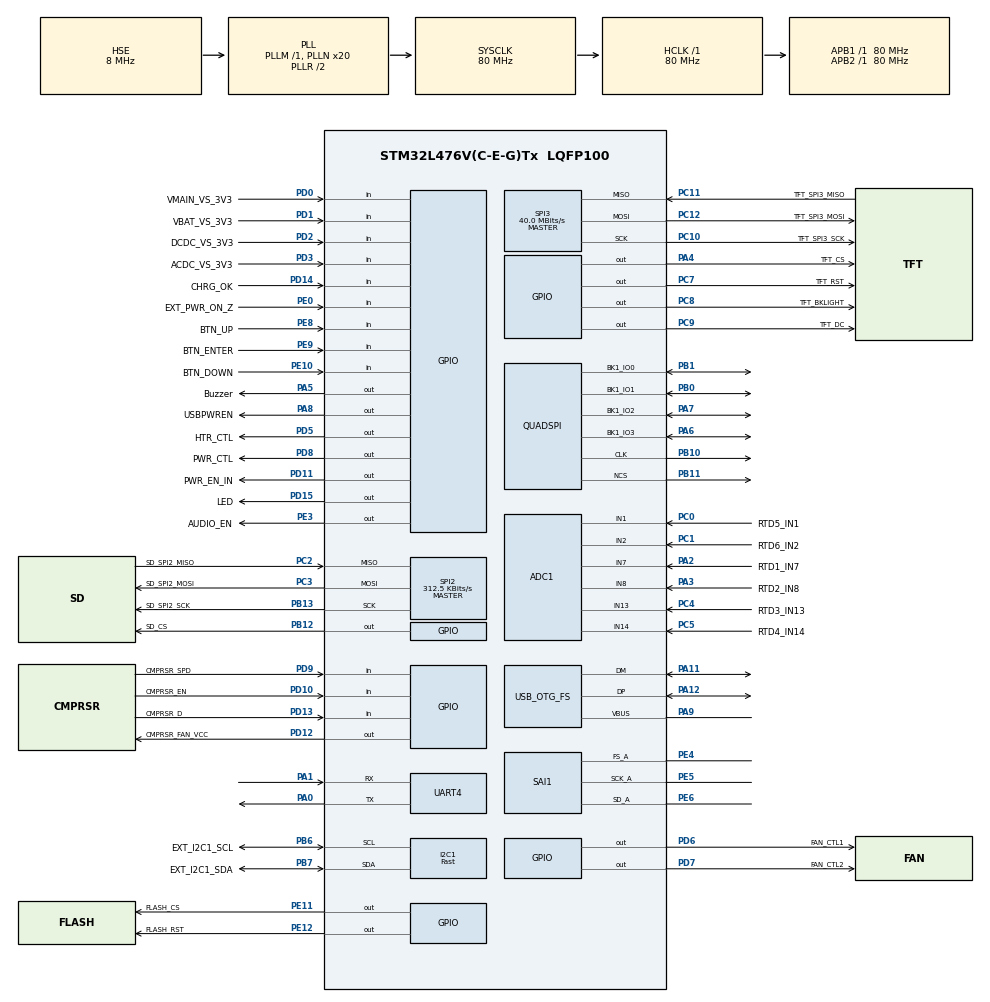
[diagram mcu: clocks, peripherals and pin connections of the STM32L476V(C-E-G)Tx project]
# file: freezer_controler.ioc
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ADC1.Channel-0\#ChannelRegularConversion=ADC_CHANNEL_1
ADC1.Channel-1\#ChannelRegularConversion=ADC_CHANNEL_2
ADC1.Channel-2\#ChannelRegularConversion=ADC_CHANNEL_7
ADC1.Channel-3\#ChannelRegularConversion=ADC_CHANNEL_8
ADC1.Channel-4\#ChannelRegularConversion=ADC_CHANNEL_13
ADC1.Channel-5\#ChannelRegularConversion=ADC_CHANNEL_14
ADC1.ClockPrescaler=ADC_CLOCK_ASYNC_DIV4
ADC1.ContinuousConvMode=ENABLE
ADC1.DMAContinuousRequests=ENABLE
ADC1.NbrOfConversion=6
ADC1.NbrOfConversionFlag=1
ADC1.OffsetNumber-0\#ChannelRegularConversion=ADC_OFFSET_NONE
ADC1.OffsetNumber-1\#ChannelRegularConversion=ADC_OFFSET_NONE
ADC1.OffsetNumber-2\#ChannelRegularConversion=ADC_OFFSET_NONE
ADC1.OffsetNumber-3\#ChannelRegularConversion=ADC_OFFSET_NONE
ADC1.OffsetNumber-4\#ChannelRegularConversion=ADC_OFFSET_NONE
ADC1.OffsetNumber-5\#ChannelRegularConversion=ADC_OFFSET_NONE
ADC1.Rank-0\#ChannelRegularConversion=1
ADC1.Rank-1\#ChannelRegularConversion=2
ADC1.Rank-2\#ChannelRegularConversion=3
ADC1.Rank-3\#ChannelRegularConversion=4
ADC1.Rank-4\#ChannelRegularConversion=5
ADC1.Rank-5\#ChannelRegularConversion=6
ADC1.SamplingTime-0\#ChannelRegularConversion=ADC_SAMPLETIME_640CYCLES_5
ADC1.SamplingTime-1\#ChannelRegularConversion=ADC_SAMPLETIME_640CYCLES_5
ADC1.SamplingTime-2\#ChannelRegularConversion=ADC_SAMPLETIME_640CYCLES_5
ADC1.SamplingTime-3\#ChannelRegularConversion=ADC_SAMPLETIME_640CYCLES_5
ADC1.SamplingTime-4\#ChannelRegularConversion=ADC_SAMPLETIME_640CYCLES_5
ADC1.SamplingTime-5\#ChannelRegularConversion=ADC_SAMPLETIME_640CYCLES_5
ADC1.master=1
CRC.DefaultPolynomialUse=DEFAULT_POLYNOMIAL_DISABLE
Dma.ADC1.1.Direction=DMA_PERIPH_TO_MEMORY
Dma.ADC1.1.Instance=DMA1_Channel1
Dma.ADC1.1.MemDataAlignment=DMA_MDATAALIGN_HALFWORD
Dma.ADC1.1.MemInc=DMA_MINC_ENABLE
Dma.ADC1.1.Mode=DMA_CIRCULAR
Dma.ADC1.1.PeriphDataAlignment=DMA_PDATAALIGN_HALFWORD
Dma.ADC1.1.PeriphInc=DMA_PINC_DISABLE
Dma.ADC1.1.Priority=DMA_PRIORITY_LOW
Dma.Request0=SPI3_TX
Dma.Request1=ADC1
Dma.SPI3_TX.0.Direction=DMA_MEMORY_TO_PERIPH
Dma.SPI3_TX.0.Instance=DMA2_Channel2
Dma.SPI3_TX.0.MemDataAlignment=DMA_MDATAALIGN_BYTE
Dma.SPI3_TX.0.MemInc=DMA_MINC_ENABLE
Dma.SPI3_TX.0.Mode=DMA_NORMAL
Dma.SPI3_TX.0.PeriphDataAlignment=DMA_PDATAALIGN_BYTE
Dma.SPI3_TX.0.PeriphInc=DMA_PINC_DISABLE
Dma.SPI3_TX.0.Priority=DMA_PRIORITY_LOW
FATFS._USE_LFN=3
FATFS._USE_MUTEX=0
FREERTOS.HEAP_NUMBER=2
FREERTOS.Tasks01=usbHostTask,0,8192,UsbRunTask,Default,NULL,Dynamic,NULL,NULL
FREERTOS.configTOTAL_HEAP_SIZE=40960
FREERTOS.configUSE_NEWLIB_REENTRANT=1
FREERTOS.configUSE_PREEMPTION=0
I2C1.CustomTiming=Disabled
I2C1.I2C_Speed_Mode=I2C_Fast
I2C1.Timing=0x00702991
Mcu.Family=STM32L4
Mcu.Name=STM32L476V(C-E-G)Tx
Mcu.Package=LQFP100
NVIC.DMA1_Channel1_IRQn=true\:5\:0\:false\:false\:true\:true\:false\:true\:true
NVIC.DMA2_Channel2_IRQn=true\:5\:0\:false\:false\:true\:true\:false\:true\:true
NVIC.I2C1_ER_IRQn=true\:0\:0\:true\:false\:true\:false\:true\:true\:true
NVIC.I2C1_EV_IRQn=true\:0\:0\:true\:false\:true\:false\:true\:true\:true
NVIC.OTG_FS_IRQn=true\:5\:0\:false\:false\:true\:true\:false\:true\:true
NVIC.PriorityGroup=NVIC_PRIORITYGROUP_4
PA0.Mode=Asynchronous
PA0.Signal=UART4_TX
PA1.Mode=Asynchronous
PA1.Signal=UART4_RX
PA11.Mode=Host_Only
PA11.Signal=USB_OTG_FS_DM
PA12.Mode=Host_Only
PA12.Signal=USB_OTG_FS_DP
PA2.GPIO_Label=RTD1_IN7
PA2.Signal=ADCx_IN7
PA3.GPIO_Label=RTD2_IN8
PA3.Signal=ADCx_IN8
PA4.GPIO_Label=TFT_CS
PA4.PinState=GPIO_PIN_SET
PA4.Signal=GPIO_Output
PA5.GPIO_Label=Buzzer
PA5.Signal=GPIO_Output
PA6.Mode=Single Bank
PA6.Signal=QUADSPI_BK1_IO3
PA7.Mode=Single Bank
PA7.Signal=QUADSPI_BK1_IO2
PA8.GPIO_Label=USBPWREN
PA8.Signal=GPIO_Output
PA9.Mode=Activate_VBUS
PA9.Signal=USB_OTG_FS_VBUS
PB0.Mode=Single Bank
PB0.Signal=QUADSPI_BK1_IO1
PB1.Mode=Single Bank
PB1.Signal=QUADSPI_BK1_IO0
PB10.Mode=Single Bank
PB10.Signal=QUADSPI_CLK
PB11.Mode=Single Bank
PB11.Signal=QUADSPI_NCS
PB12.GPIO_Label=SD_CS
PB12.Signal=GPIO_Output
PB13.GPIO_Label=SD_SPI2_SCK
PB13.Mode=Full_Duplex_Master
PB13.Signal=SPI2_SCK
PB6.GPIO_Label=EXT_I2C1_SCL
PB6.GPIO_Pu=GPIO_PULLUP
PB6.Mode=I2C
PB6.Signal=I2C1_SCL
PB7.GPIO_Label=EXT_I2C1_SDA
PB7.GPIO_Pu=GPIO_PULLUP
PB7.Mode=I2C
PB7.Signal=I2C1_SDA
PC0.GPIO_Label=RTD5_IN1
PC0.Signal=ADCx_IN1
PC1.GPIO_Label=RTD6_IN2
PC1.Signal=ADCx_IN2
PC10.GPIO_Label=TFT_SPI3_SCK
PC10.Mode=Full_Duplex_Master
PC10.Signal=SPI3_SCK
PC11.GPIO_Label=TFT_SPI3_MISO
PC11.Mode=Full_Duplex_Master
PC11.Signal=SPI3_MISO
PC12.GPIO_Label=TFT_SPI3_MOSI
PC12.Mode=Full_Duplex_Master
PC12.Signal=SPI3_MOSI
PC14-OSC32_IN\ (PC14).Mode=LSE-External-Oscillator
PC14-OSC32_IN\ (PC14).Signal=RCC_OSC32_IN
PC15-OSC32_OUT\ (PC15).Mode=LSE-External-Oscillator
PC15-OSC32_OUT\ (PC15).Signal=RCC_OSC32_OUT
PC2.GPIO_Label=SD_SPI2_MISO
PC2.Mode=Full_Duplex_Master
PC2.Signal=SPI2_MISO
PC3.GPIO_Label=SD_SPI2_MOSI
PC3.Mode=Full_Duplex_Master
PC3.Signal=SPI2_MOSI
PC4.GPIO_Label=RTD3_IN13
PC4.Signal=ADCx_IN13
PC5.GPIO_Label=RTD4_IN14
PC5.Signal=ADCx_IN14
PC7.GPIO_Label=TFT_RST
PC7.Signal=GPIO_Output
PC8.GPIO_Label=TFT_BKLIGHT
PC8.Signal=GPIO_Output
PC9.GPIO_Label=TFT_DC
PC9.Signal=GPIO_Output
PD0.GPIO_Label=VMAIN_VS_3V3
PD0.Signal=GPIO_Input
PD1.GPIO_Label=VBAT_VS_3V3
PD1.Signal=GPIO_Input
PD10.GPIO_Label=CMPRSR_EN
PD10.Signal=GPIO_Input
PD11.GPIO_Label=PWR_EN_IN
PD11.Signal=GPIO_Output
PD12.GPIO_Label=CMPRSR_FAN_VCC
PD12.Signal=GPIO_Output
PD13.GPIO_Label=CMPRSR_D
PD13.Signal=GPIO_Input
PD14.GPIO_Label=CHRG_OK
PD14.GPIO_PuPd=GPIO_PULLUP
PD14.Signal=GPIO_Input
PD15.GPIO_Label=LED
PD15.GPIO_PuPd=GPIO_PULLUP
PD15.Signal=GPIO_Output
PD2.GPIO_Label=DCDC_VS_3V3
PD2.Signal=GPIO_Input
PD3.GPIO_Label=ACDC_VS_3V3
PD3.Signal=GPIO_Input
PD5.GPIO_Label=HTR_CTL
PD5.GPIO_PuPd=GPIO_PULLDOWN
PD5.Signal=GPIO_Output
PD6.GPIO_Label=FAN_CTL1
PD6.GPIO_PuPd=GPIO_PULLDOWN
PD6.Signal=GPIO_Output
PD7.GPIO_Label=FAN_CTL2
PD7.GPIO_PuPd=GPIO_PULLDOWN
PD7.Signal=GPIO_Output
PD8.GPIO_Label=PWR_CTL
PD8.Signal=GPIO_Output
PD9.GPIO_Label=CMPRSR_SPD
PD9.Signal=GPIO_Input
PE0.GPIO_Label=EXT_PWR_ON_Z
PE0.Signal=GPIO_Input
PE10.GPIO_Label=BTN_DOWN
PE10.GPIO_PuPd=GPIO_PULLUP
PE10.Signal=GPIO_Input
PE11.GPIO_Label=FLASH_CS
PE11.Signal=GPIO_Output
PE12.GPIO_Label=FLASH_RST
PE12.Signal=GPIO_Output
PE3.GPIO_Label=AUDIO_EN
PE3.Signal=GPIO_Output
PE4.Mode=SAI_A_Master
PE4.Signal=SAI1_FS_A
PE5.Mode=SAI_A_Master
PE5.Signal=SAI1_SCK_A
PE6.Mode=SAI_A_Master
PE6.Signal=SAI1_SD_A
PE8.GPIO_Label=BTN_UP
PE8.GPIO_PuPd=GPIO_PULLUP
PE8.Signal=GPIO_Input
PE9.GPIO_Label=BTN_ENTER
PE9.GPIO_PuPd=GPIO_PULLUP
PE9.Signal=GPIO_Input
PH0-OSC_IN\ (PH0).Mode=HSE-External-Oscillator
PH0-OSC_IN\ (PH0).Signal=RCC_OSC_IN
PH1-OSC_OUT\ (PH1).Mode=HSE-External-Oscillator
PH1-OSC_OUT\ (PH1).Signal=RCC_OSC_OUT
ProjectManager.HeapSize=0x200
ProjectManager.StackSize=0x400
ProjectManager.TargetToolchain=STM32CubeIDE
RCC.ADCCLockSelection=RCC_ADCCLKSOURCE_PLLSAI2
RCC.ADCFreq_Value=32000000
RCC.AHBFreq_Value=80000000
RCC.APB1Freq_Value=80000000
RCC.APB1TimFreq_Value=80000000
RCC.APB2Freq_Value=80000000
RCC.APB2TimFreq_Value=80000000
RCC.CortexFreq_Value=80000000
RCC.HCLKFreq_Value=80000000
RCC.HSE_VALUE=8000000
RCC.HSI_VALUE=16000000
RCC.MSI_VALUE=4000000
RCC.PLLN=20
RCC.PLLSAI1N=12
RCC.PLLSourceVirtual=RCC_PLLSOURCE_HSE
RCC.SYSCLKFreq_VALUE=80000000
RCC.SYSCLKSource=RCC_SYSCLKSOURCE_PLLCLK
RCC.USBFreq_Value=48000000
RCC.VCOOutputFreq_Value=160000000
SAI1.ErrorAudioFreq-SAI_A_Master=-72.09 %
SAI1.Instance-SAI_A_Master=SAI$Index_Block_A
SAI1.MClockEnable-SAI_A_Master=SAI_MASTERCLOCK_DISABLE
SAI1.RealAudioFreq-SAI_A_Master=53.571 KHz
SAI1.VirtualMode-SAI_A_Master=VM_MASTER
SH.ADCx_IN1.0=ADC1_IN1,IN1-Single-Ended
SH.ADCx_IN13.0=ADC1_IN13,IN13-Single-Ended
SH.ADCx_IN14.0=ADC1_IN14,IN14-Single-Ended
SH.ADCx_IN2.0=ADC1_IN2,IN2-Single-Ended
SH.ADCx_IN7.0=ADC1_IN7,IN7-Single-Ended
SH.ADCx_IN8.0=ADC1_IN8,IN8-Single-Ended
SPI2.BaudRatePrescaler=SPI_BAUDRATEPRESCALER_256
SPI2.CalculateBaudRate=312.5 KBits/s
SPI2.DataSize=SPI_DATASIZE_8BIT
SPI2.Direction=SPI_DIRECTION_2LINES
SPI2.Mode=SPI_MODE_MASTER
SPI2.VirtualType=VM_MASTER
SPI3.BaudRatePrescaler=SPI_BAUDRATEPRESCALER_2
SPI3.CalculateBaudRate=40.0 MBits/s
SPI3.DataSize=SPI_DATASIZE_8BIT
SPI3.Direction=SPI_DIRECTION_2LINES
SPI3.Mode=SPI_MODE_MASTER
SPI3.VirtualType=VM_MASTER
USB_HOST.BSP.number=1
USB_HOST.USBH_DEBUG_LEVEL=1
USB_HOST.USBH_HandleTypeDef=hUsbHostFS
USB_HOST.USBH_PROCESS_STACK_SIZE=512
USB_HOST.VirtualModeFS=Msc
USB_HOST0.BSP.STBoard=false
USB_HOST0.BSP.api=Unknown
USB_HOST0.BSP.instance=PA8
USB_HOST0.BSP.ip=GPIO
USB_HOST0.BSP.mode=Output
USB_HOST0.BSP.name=Drive_VBUS_FS
USB_HOST0.BSP.solution=PA8
USB_OTG_FS.VirtualMode=Host_Only
USB_OTG_FS.phy_itface=HCD_PHY_EMBEDDED
VP_CRC_VS_CRC.Mode=CRC_Activate
VP_FATFS_VS_Generic.Mode=User_defined
VP_FATFS_VS_USB.Mode=USB
VP_FREERTOS_VS_CMSIS_V1.Mode=CMSIS_V1
VP_USB_HOST_VS_USB_HOST_MSC_FS.Mode=MSC_FS
board=custom

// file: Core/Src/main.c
/* USER CODE BEGIN Header */
/**
  ******************************************************************************
  * @file           : main.c
  * @brief          : Main program body
  ******************************************************************************
  * @attention
  *
  * Copyright (c) 2023 STMicroelectronics.
  * All rights reserved.
  *
  * This software is licensed under terms that can be found in the LICENSE file
  * in the root directory of this software component.
  * If no LICENSE file comes with this software, it is provided AS-IS.
  *
  ******************************************************************************
  */
/* USER CODE END Header */
#include "main.h"
#include "cmsis_os.h"
#include "adc.h"
#include "crc.h"
#include "dma.h"
#include "fatfs.h"
#include "i2c.h"
#include "spi.h"
#include "usart.h"
#include "usb_host.h"
#include "gpio.h"

/* USER CODE BEGIN Includes */
#include "printf.h"
#include "lcd_ui.h"
#include "event.h"
#include "DS1307.h"
#include "led.h"
#include "buzzer.h"
#include "RTD.h"
#include "board.h"
#include "lcd_interface.h"
#include "main_app.h"
#include "logging.h"
#include "bms.h"
#include "power_board.h"
#include "led_signal.h"
/* USER CODE END Includes */

void SystemClock_Config(void);
void MX_FREERTOS_Init(void);

int main(void)
{

  /* MCU Configuration--------------------------------------------------------*/

  /* Reset of all peripherals, Initializes the Flash interface and the Systick. */
  HAL_Init();

  /* Configure the system clock */
  SystemClock_Config();

  /* Initialize all configured peripherals */
  MX_GPIO_Init();
  MX_DMA_Init();
  MX_ADC1_Init();
  MX_SPI2_Init();
  MX_FATFS_Init();
  MX_SPI3_Init();
  MX_I2C1_Init();
  MX_CRC_Init();
  MX_UART4_Init();
  /* USER CODE BEGIN 2 */
  printf("\nApplication started!");
  pwr_5v_on(); //On power 5V
  logging_init();
  event_init();
  //RTD temperature sensor
  rtd_init();
  //led library
  led_init();
  //Buzzer
  buzzer_init();

  //Init i2c periph for DS1307
  DS1307_Init(&hi2c1);

  /* USER CODE END 2 */

  /* Call init function for freertos objects (in freertos.c) */
  MX_FREERTOS_Init();

  /* Start scheduler */
  osKernelStart();

  /* We should never get here as control is now taken by the scheduler */
  /* Infinite loop */
  /* USER CODE BEGIN WHILE */
  while (1)
  {
//	 event_run_task();
    /* USER CODE END WHILE */

  }
}

void SystemClock_Config(void)
{
  RCC_OscInitTypeDef RCC_OscInitStruct = {0};
  RCC_ClkInitTypeDef RCC_ClkInitStruct = {0};

  /** Configure the main internal regulator output voltage
  */
  if (HAL_PWREx_ControlVoltageScaling(PWR_REGULATOR_VOLTAGE_SCALE1) != HAL_OK)
  {
    Error_Handler();
  }

  /** Initializes the RCC Oscillators according to the specified parameters
  * in the RCC_OscInitTypeDef structure.
  */
  RCC_OscInitStruct.OscillatorType = RCC_OSCILLATORTYPE_HSE;
  RCC_OscInitStruct.HSEState = RCC_HSE_ON;
  RCC_OscInitStruct.PLL.PLLState = RCC_PLL_ON;
  RCC_OscInitStruct.PLL.PLLSource = RCC_PLLSOURCE_HSE;
  RCC_OscInitStruct.PLL.PLLM = 1;
  RCC_OscInitStruct.PLL.PLLN = 20;
  RCC_OscInitStruct.PLL.PLLP = RCC_PLLP_DIV7;
  RCC_OscInitStruct.PLL.PLLQ = RCC_PLLQ_DIV2;
  RCC_OscInitStruct.PLL.PLLR = RCC_PLLR_DIV2;
  if (HAL_RCC_OscConfig(&RCC_OscInitStruct) != HAL_OK)
  {
    Error_Handler();
  }

  /** Initializes the CPU, AHB and APB buses clocks
  */
  RCC_ClkInitStruct.ClockType = RCC_CLOCKTYPE_HCLK|RCC_CLOCKTYPE_SYSCLK
                              |RCC_CLOCKTYPE_PCLK1|RCC_CLOCKTYPE_PCLK2;
  RCC_ClkInitStruct.SYSCLKSource = RCC_SYSCLKSOURCE_PLLCLK;
  RCC_ClkInitStruct.AHBCLKDivider = RCC_SYSCLK_DIV1;
  RCC_ClkInitStruct.APB1CLKDivider = RCC_HCLK_DIV1;
  RCC_ClkInitStruct.APB2CLKDivider = RCC_HCLK_DIV1;

  if (HAL_RCC_ClockConfig(&RCC_ClkInitStruct, FLASH_LATENCY_4) != HAL_OK)
  {
    Error_Handler();
  }
}

/* USER CODE BEGIN 4 */

void _putchar(char character)
{
	HAL_UART_Transmit(&huart4,(uint8_t *)&character, 1, 10);
}

void __io_putchar(uint8_t ch)
{
	HAL_UART_Transmit(&huart4, &ch, 1, 10);
}

int _write(int file, char *ptr, int len)
{
	(void)file;
	 int DataIdx;

	  for (DataIdx = 0; DataIdx < len; DataIdx++)
	  {
	    __io_putchar(*ptr++);
	  }
	 setbuf(stdout, NULL);
	 return len;
}
/* USER CODE END 4 */

void Error_Handler(void)
{
  __disable_irq();
  while (1)
  {
  }
}

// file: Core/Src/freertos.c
/* USER CODE BEGIN Header */
/**
  ******************************************************************************
  * File Name          : freertos.c
  * Description        : Code for freertos applications
  ******************************************************************************
  * @attention
  *
  * Copyright (c) 2023 STMicroelectronics.
  * All rights reserved.
  *
  * This software is licensed under terms that can be found in the LICENSE file
  * in the root directory of this software component.
  * If no LICENSE file comes with this software, it is provided AS-IS.
  *
  ******************************************************************************
  */
/* USER CODE END Header */

#include "FreeRTOS.h"
#include "task.h"
#include "main.h"
#include "cmsis_os.h"

/* USER CODE BEGIN Includes */
#include "event.h"
#include "led.h"
#include "bms.h"
#include "main_app.h"
#include "power_board.h"
/* USER CODE END Includes */

/* USER CODE BEGIN Variables */
osThreadId eventTaskHandle;
osThreadId ledTaskHandle;
/* USER CODE END Variables */
osThreadId usbHostTaskHandle;

/* USER CODE BEGIN FunctionPrototypes */
extern void MX_USB_HOST_Process(void);
/* USER CODE END FunctionPrototypes */

void UsbRunTask(void const * argument);

extern void MX_USB_HOST_Init(void);
void MX_FREERTOS_Init(void); /* (MISRA C 2004 rule 8.1) */

/* GetIdleTaskMemory prototype (linked to static allocation support) */
void vApplicationGetIdleTaskMemory( StaticTask_t **ppxIdleTaskTCBBuffer, StackType_t **ppxIdleTaskStackBuffer, uint32_t *pulIdleTaskStackSize );

/* USER CODE BEGIN GET_IDLE_TASK_MEMORY */
static StaticTask_t xIdleTaskTCBBuffer;
static StackType_t xIdleStack[configMINIMAL_STACK_SIZE];

void vApplicationGetIdleTaskMemory( StaticTask_t **ppxIdleTaskTCBBuffer, StackType_t **ppxIdleTaskStackBuffer, uint32_t *pulIdleTaskStackSize )
{
  *ppxIdleTaskTCBBuffer = &xIdleTaskTCBBuffer;
  *ppxIdleTaskStackBuffer = &xIdleStack[0];
  *pulIdleTaskStackSize = configMINIMAL_STACK_SIZE;
  /* place for user code */
}
/* USER CODE END GET_IDLE_TASK_MEMORY */

void MX_FREERTOS_Init(void) {

  /* Create the thread(s) */
  /* definition and creation of usbHostTask */
  osThreadDef(usbHostTask, UsbRunTask, osPriorityNormal, 0, 8192);
  usbHostTaskHandle = osThreadCreate(osThread(usbHostTask), NULL);

}

void UsbRunTask(void const * argument)
{
  /* init code for USB_HOST */
  MX_USB_HOST_Init();
  /* USER CODE BEGIN UsbRunTask */
  ext_pwr_enable(); // On power for BQ25731
  HAL_Delay(10);
  bms_init();
  main_app_init();
  /* Infinite loop */
  for(;;)
  {
	  event_run_task_rtos();
	  osDelay(1);
  }
  /* USER CODE END UsbRunTask */
}
